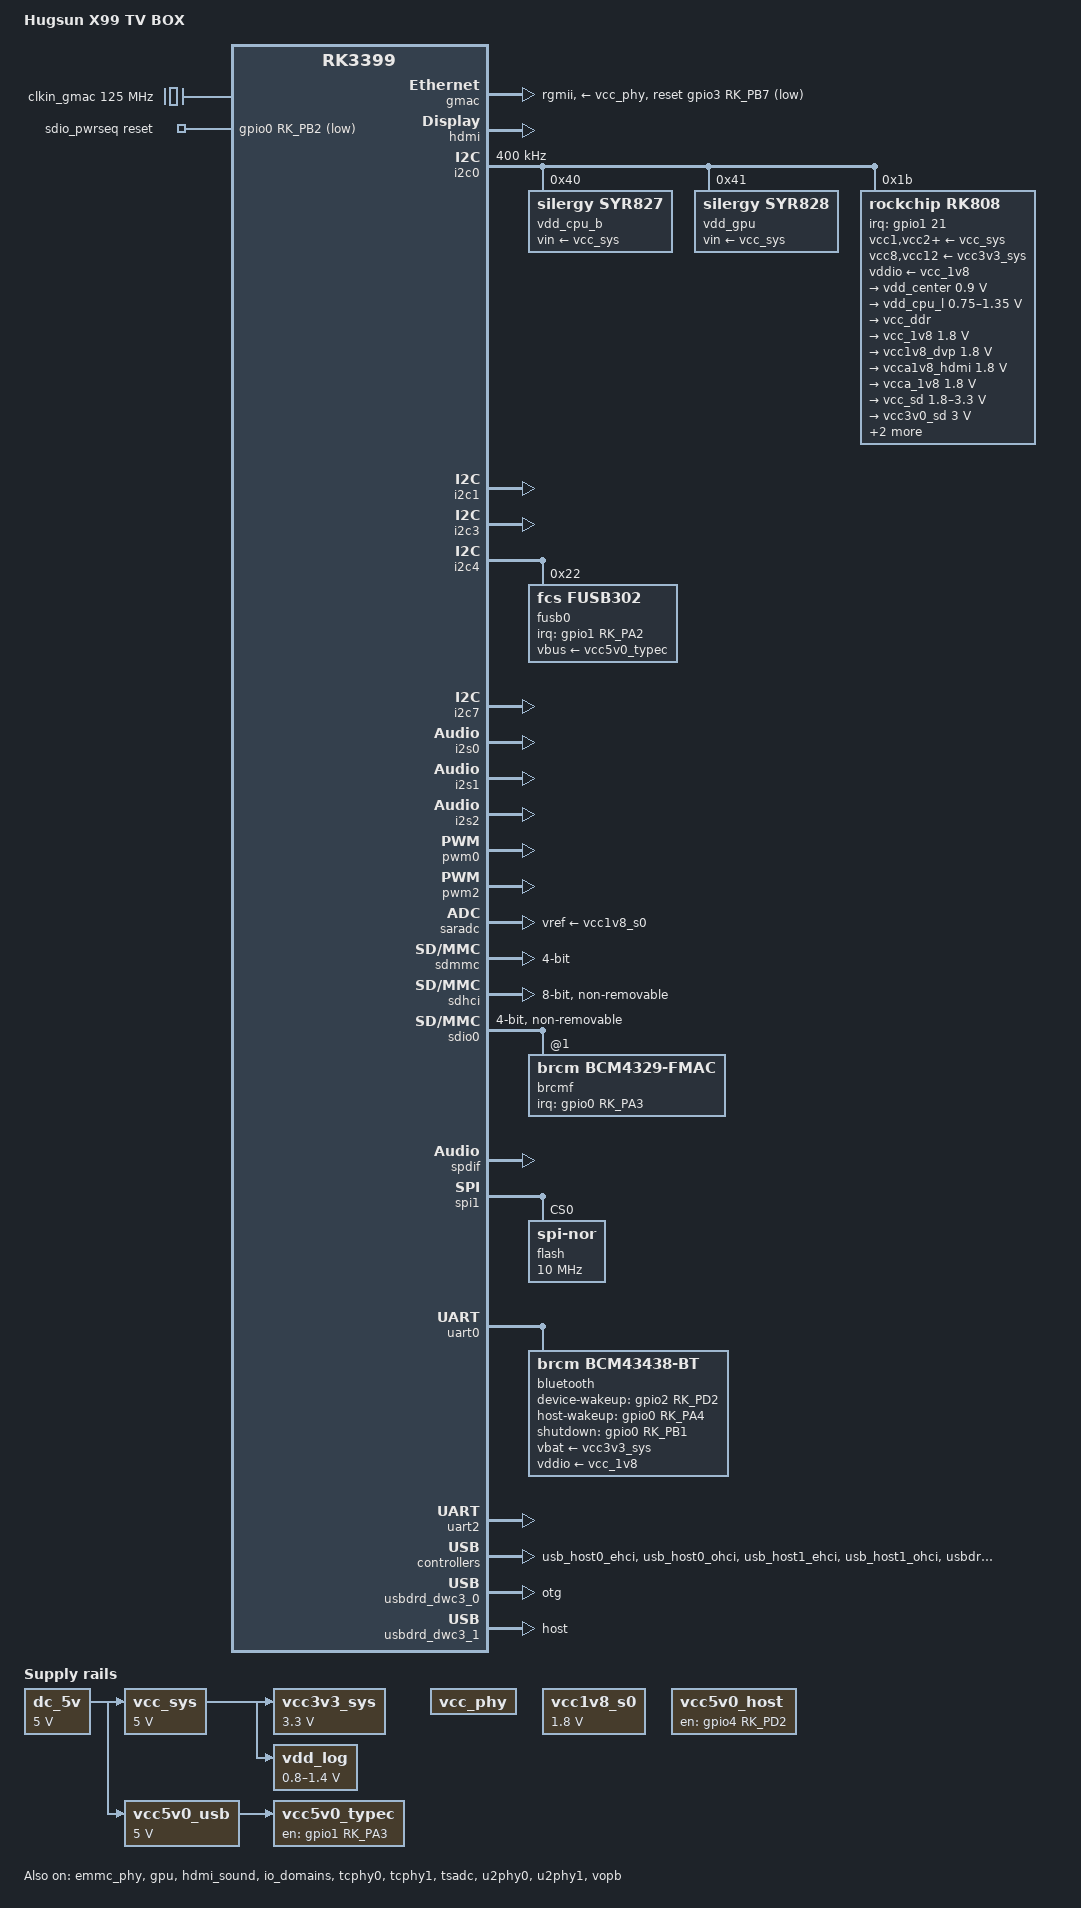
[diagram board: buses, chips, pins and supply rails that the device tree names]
// SPDX-License-Identifier: (GPL-2.0+ OR MIT)
/dts-v1/;
#include <dt-bindings/pwm/pwm.h>
#include <dt-bindings/input/input.h>
#include "rk3399.dtsi"
#include "rk3399-opp.dtsi"

/ {
	model = "Hugsun X99 TV BOX";
	compatible = "hugsun,x99", "rockchip,rk3399";

	chosen {
		stdout-path = "serial2:1500000n8";
	};

	clkin_gmac: external-gmac-clock {
		compatible = "fixed-clock";
		clock-frequency = <125000000>;
		clock-output-names = "clkin_gmac";
		#clock-cells = <0>;
	};

	dc_5v: dc-5v {
		compatible = "regulator-fixed";
		regulator-name = "dc_5v";
		regulator-always-on;
		regulator-boot-on;
		regulator-min-microvolt = <5000000>;
		regulator-max-microvolt = <5000000>;
	};

	vcc_sys: vcc-sys {
		compatible = "regulator-fixed";
		regulator-name = "vcc_sys";
		regulator-min-microvolt = <5000000>;
		regulator-max-microvolt = <5000000>;
		regulator-always-on;
		vin-supply = <&dc_5v>;
	};

	vcc_phy: vcc-phy-regulator {
		compatible = "regulator-fixed";
		regulator-name = "vcc_phy";
		regulator-always-on;
		regulator-boot-on;
	};

	vcc1v8_s0: vcc1v8-s0 {
		compatible = "regulator-fixed";
		regulator-name = "vcc1v8_s0";
		regulator-min-microvolt = <1800000>;
		regulator-max-microvolt = <1800000>;
		regulator-always-on;
	};

	vcc3v3_sys: vcc3v3-sys {
		compatible = "regulator-fixed";
		regulator-name = "vcc3v3_sys";
		regulator-min-microvolt = <3300000>;
		regulator-max-microvolt = <3300000>;
		regulator-always-on;
		vin-supply = <&vcc_sys>;
	};

	vcc5v0_host: vcc5v0-host-regulator {
		compatible = "regulator-fixed";
		enable-active-high;
		gpio = <&gpio4 RK_PD2 GPIO_ACTIVE_HIGH>;
		pinctrl-names = "default";
		pinctrl-0 = <&host_vbus_drv>;
		regulator-name = "vcc5v0_host";
		regulator-always-on;
	};

	vcc5v0_typec: vcc5v0-typec-regulator {
		compatible = "regulator-fixed";
		enable-active-high;
		gpio = <&gpio1 RK_PA3 GPIO_ACTIVE_HIGH>;
		pinctrl-names = "default";
		pinctrl-0 = <&vcc5v0_typec_en>;
		regulator-name = "vcc5v0_typec";
		regulator-always-on;
		vin-supply = <&vcc5v0_usb>;
	};

	vcc5v0_usb: vcc5v0-usb {
		compatible = "regulator-fixed";
		regulator-name = "vcc5v0_usb";
		regulator-always-on;
		regulator-boot-on;
		regulator-min-microvolt = <5000000>;
		regulator-max-microvolt = <5000000>;
		vin-supply = <&dc_5v>;
	};

	vdd_log: vdd-log {
		compatible = "pwm-regulator";
		pwms = <&pwm2 0 25000 1>;
		pwm-supply = <&vcc_sys>;
		regulator-name = "vdd_log";
		regulator-min-microvolt = <800000>;
		regulator-max-microvolt = <1400000>;
		regulator-always-on;
		regulator-boot-on;
	};

	sdio_pwrseq: sdio-pwrseq {
		compatible = "mmc-pwrseq-simple";
		clocks = <&rk808 1>;
		clock-names = "ext_clock";
		pinctrl-names = "default";
		pinctrl-0 = <&wifi_reg_on_h>;
		reset-gpios = <&gpio0 RK_PB2 GPIO_ACTIVE_LOW>;
	};

};

&cpu_l0 {
	cpu-supply = <&vdd_cpu_l>;
};

&cpu_l1 {
	cpu-supply = <&vdd_cpu_l>;
};

&cpu_l2 {
	cpu-supply = <&vdd_cpu_l>;
};

&cpu_l3 {
	cpu-supply = <&vdd_cpu_l>;
};

&cpu_b0 {
	cpu-supply = <&vdd_cpu_b>;
};

&cpu_b1 {
	cpu-supply = <&vdd_cpu_b>;
};

&emmc_phy {
	status = "okay";
};

&gmac {
	assigned-clocks = <&cru SCLK_RMII_SRC>;
	assigned-clock-parents = <&clkin_gmac>;
	clock_in_out = "input";
	phy-supply = <&vcc_phy>;
	phy-mode = "rgmii";
	pinctrl-names = "default";
	pinctrl-0 = <&rgmii_pins>;
	snps,reset-gpio = <&gpio3 RK_PB7 GPIO_ACTIVE_LOW>;
	snps,reset-active-low;
	snps,reset-delays-us = <0 10000 50000>;
	tx_delay = <0x28>;
	rx_delay = <0x11>;
	status = "okay";
};

&gpu {
	status = "okay";
	mali-supply = <&vdd_gpu>;
};

&hdmi {
	ddc-i2c-bus = <&i2c3>;
	pinctrl-names = "default";
	pinctrl-0 = <&hdmi_cec>;
	status = "okay";
};

&hdmi_sound {
	status = "okay";
};

&i2c0 {
	status = "okay";
	i2c-scl-rising-time-ns = <180>;
	i2c-scl-falling-time-ns = <30>;
	clock-frequency = <400000>;

	vdd_cpu_b: syr827@40 {
		compatible = "silergy,syr827";
		reg = <0x40>;
		regulator-compatible = "fan53555-reg";
		pinctrl-0 = <&vsel1_gpio>;
		regulator-name = "vdd_cpu_b";
		regulator-min-microvolt = <712500>;
		regulator-max-microvolt = <1500000>;
		regulator-ramp-delay = <1000>;
		fcs,suspend-voltage-selector = <1>;
		regulator-always-on;
		regulator-boot-on;
		vin-supply = <&vcc_sys>;
		regulator-state-mem {
			regulator-off-in-suspend;
		};
	};

	vdd_gpu: syr828@41 {
		compatible = "silergy,syr828";
		reg = <0x41>;
		regulator-compatible = "fan53555-reg";
		pinctrl-0 = <&vsel2_gpio>;
		regulator-name = "vdd_gpu";
		regulator-min-microvolt = <712500>;
		regulator-max-microvolt = <1500000>;
		regulator-ramp-delay = <1000>;
		fcs,suspend-voltage-selector = <1>;
		regulator-always-on;
		regulator-boot-on;
		vin-supply = <&vcc_sys>;
		regulator-initial-mode = <1>;
		regulator-state-mem {
			regulator-off-in-suspend;
		};
	};

	rk808: pmic@1b {
		compatible = "rockchip,rk808";
		reg = <0x1b>;
		interrupt-parent = <&gpio1>;
		interrupts = <21 IRQ_TYPE_LEVEL_LOW>;
		pinctrl-names = "default";
		pinctrl-0 = <&pmic_int_l>;
		rockchip,system-power-controller;
		wakeup-source;
		#clock-cells = <1>;
		clock-output-names = "xin32k", "rtc_clko_wifi";

		vcc1-supply = <&vcc_sys>;
		vcc2-supply = <&vcc_sys>;
		vcc3-supply = <&vcc_sys>;
		vcc4-supply = <&vcc_sys>;
		vcc6-supply = <&vcc_sys>;
		vcc7-supply = <&vcc_sys>;
		vcc8-supply = <&vcc3v3_sys>;
		vcc9-supply = <&vcc_sys>;
		vcc10-supply = <&vcc_sys>;
		vcc11-supply = <&vcc_sys>;
		vcc12-supply = <&vcc3v3_sys>;
		vddio-supply = <&vcc_1v8>;

		regulators {
			vdd_center: DCDC_REG1 {
				regulator-name = "vdd_center";
				regulator-min-microvolt = <900000>;
				regulator-max-microvolt = <900000>;
				regulator-ramp-delay = <6001>;
				regulator-always-on;
				regulator-boot-on;
				regulator-state-mem {
					regulator-off-in-suspend;
				};
			};

			vdd_cpu_l: DCDC_REG2 {
				regulator-name = "vdd_cpu_l";
				regulator-min-microvolt = <750000>;
				regulator-max-microvolt = <1350000>;
				regulator-ramp-delay = <6001>;
				regulator-always-on;
				regulator-boot-on;
				regulator-state-mem {
					regulator-off-in-suspend;
				};
			};

			vcc_ddr: DCDC_REG3 {
				regulator-name = "vcc_ddr";
				regulator-always-on;
				regulator-boot-on;
				regulator-state-mem {
					regulator-on-in-suspend;
				};
			};

			vcc_1v8: DCDC_REG4 {
				regulator-name = "vcc_1v8";
				regulator-min-microvolt = <1800000>;
				regulator-max-microvolt = <1800000>;
				regulator-always-on;
				regulator-boot-on;
				regulator-state-mem {
					regulator-on-in-suspend;
					regulator-suspend-microvolt = <1800000>;
				};
			};

			vcc1v8_dvp: LDO_REG1 {
				regulator-name = "vcc1v8_dvp";
				regulator-min-microvolt = <1800000>;
				regulator-max-microvolt = <1800000>;
				regulator-always-on;
				regulator-boot-on;
				regulator-state-mem {
					regulator-on-in-suspend;
					regulator-suspend-microvolt = <1800000>;
				};
			};

			vcca1v8_hdmi: LDO_REG2 {
				regulator-name = "vcca1v8_hdmi";
				regulator-min-microvolt = <1800000>;
				regulator-max-microvolt = <1800000>;
				regulator-always-on;
				regulator-boot-on;
				regulator-state-mem {
					regulator-on-in-suspend;
					regulator-suspend-microvolt = <1800000>;
				};
			};

			vcca_1v8: LDO_REG3 {
				regulator-name = "vcca_1v8";
				regulator-min-microvolt = <1800000>;
				regulator-max-microvolt = <1800000>;
				regulator-always-on;
				regulator-boot-on;
				regulator-state-mem {
					regulator-on-in-suspend;
					regulator-suspend-microvolt = <1800000>;
				};
			};

			vcc_sd: LDO_REG4 {
				regulator-name = "vcc_sd";
				regulator-min-microvolt = <1800000>;
				regulator-max-microvolt = <3300000>;
				regulator-always-on;
				regulator-boot-on;
				regulator-state-mem {
					regulator-on-in-suspend;
					regulator-suspend-microvolt = <3300000>;
				};
			};

			vcc3v0_sd: LDO_REG5 {
				regulator-name = "vcc3v0_sd";
				regulator-min-microvolt = <3000000>;
				regulator-max-microvolt = <3000000>;
				regulator-always-on;
				regulator-boot-on;
				regulator-state-mem {
					regulator-on-in-suspend;
					regulator-suspend-microvolt = <3000000>;
				};
			};

			vcc_1v5: LDO_REG6 {
				regulator-name = "vcc_1v5";
				regulator-min-microvolt = <1500000>;
				regulator-max-microvolt = <1500000>;
				regulator-always-on;
				regulator-boot-on;
				regulator-state-mem {
					regulator-on-in-suspend;
					regulator-suspend-microvolt = <1500000>;
				};
			};

			vcca0v9_hdmi: LDO_REG7 {
				regulator-name = "vcca0v9_hdmi";
				regulator-min-microvolt = <900000>;
				regulator-max-microvolt = <900000>;
				regulator-always-on;
				regulator-boot-on;
				regulator-state-mem {
					regulator-on-in-suspend;
					regulator-suspend-microvolt = <900000>;
				};
			};

			vcc_3v0: LDO_REG8 {
				regulator-name = "vcc_3v0";
				regulator-min-microvolt = <3000000>;
				regulator-max-microvolt = <3000000>;
				regulator-always-on;
				regulator-boot-on;
				regulator-state-mem {
					regulator-on-in-suspend;
					regulator-suspend-microvolt = <3000000>;
				};
			};

			vcc3v3_s3: SWITCH_REG1 {
				regulator-name = "vcc3v3_s3";
				regulator-always-on;
				regulator-boot-on;
				regulator-state-mem {
					regulator-on-in-suspend;
				};
			};

			vcc3v3_s0: SWITCH_REG2 {
				regulator-name = "vcc3v3_s0";
				regulator-always-on;
				regulator-boot-on;
				regulator-state-mem {
					regulator-on-in-suspend;
				};
			};
		};
	};
};

&i2c1 {
	i2c-scl-rising-time-ns = <300>;
	i2c-scl-falling-time-ns = <15>;
	status = "okay";
};

&i2c3 {
	i2c-scl-rising-time-ns = <450>;
	i2c-scl-falling-time-ns = <15>;
	status = "okay";
};

&i2c4 {
	i2c-scl-rising-time-ns = <600>;
	i2c-scl-falling-time-ns = <40>;
	status = "okay";

	fusb0: typec-portc@22 {
		compatible = "fcs,fusb302";
		reg = <0x22>;
		interrupt-parent = <&gpio1>;
		interrupts = <RK_PA2 IRQ_TYPE_LEVEL_LOW>;
		pinctrl-names = "default";
		pinctrl-0 = <&fusb0_int>;
		vbus-supply = <&vcc5v0_typec>;
		status = "okay";
	};
};

&i2c7 {
	status = "okay";
};

&i2s0 {
	rockchip,playback-channels = <8>;
	rockchip,capture-channels = <8>;
	status = "okay";
};

&i2s1 {
	rockchip,playback-channels = <2>;
	rockchip,capture-channels = <2>;
	status = "okay";
};

&i2s2 {
	status = "okay";
};

&io_domains {
	status = "okay";
	audio-supply = <&vcc1v8_s0>;
	bt656-supply = <&vcc1v8_s0>;
	gpio1830-supply = <&vcc_3v0>;
	sdmmc-supply = <&vcc_sd>;
};

&pmu_io_domains {
	status = "okay";
	pmu1830-supply = <&vcc_1v8>;
};

&pinctrl {
	fusb30x {
		fusb0_int: fusb0-int {
			rockchip,pins =
				<1 RK_PA2 RK_FUNC_GPIO &pcfg_pull_up>;
		};
	};

	gmac {
		rgmii_sleep_pins: rgmii-sleep-pins {
			rockchip,pins =
				<3 RK_PB7 RK_FUNC_GPIO &pcfg_output_low>;
		};
	};

	pmic {
		pmic_int_l: pmic-int-l {
			rockchip,pins =
				<1 RK_PC5 RK_FUNC_GPIO &pcfg_pull_up>;
		};

		vsel1_gpio: vsel1-gpio {
			rockchip,pins =
				<1 RK_PC1 RK_FUNC_GPIO &pcfg_pull_down>;
		};

		vsel2_gpio: vsel2-gpio {
			rockchip,pins =
				<1 RK_PB6 RK_FUNC_GPIO &pcfg_pull_down>;
		};
	};

	sdio {
		bt_host_wake_l: bt-host-wake-l {
			rockchip,pins = <0 RK_PA4 RK_FUNC_GPIO &pcfg_pull_none>;
		};

		bt_reg_on_h: bt-reg-on-h {
			/* external pullup to VCC1V8_PMUPLL */
			rockchip,pins = <0 RK_PB1 RK_FUNC_GPIO &pcfg_pull_none>;
		};

		bt_wake_l: bt-wake-l {
			rockchip,pins = <2 RK_PD2 RK_FUNC_GPIO &pcfg_pull_none>;
		};

		wifi_reg_on_h: wifi-reg_on-h {
			rockchip,pins = <0 RK_PB2 RK_FUNC_GPIO &pcfg_pull_none>;
		};
	};

	wifi {
		wifi_host_wake_l: wifi-host-wake-l {
			rockchip,pins = <0 RK_PA3 RK_FUNC_GPIO &pcfg_pull_none>;
		};
	};

	usb-typec {
		vcc5v0_typec_en: vcc5v0_typec_en {
			rockchip,pins = <1 RK_PA3 RK_FUNC_GPIO &pcfg_pull_up>;
		};
	};

	usb2 {
		host_vbus_drv: host-vbus-drv {
			rockchip,pins =
				<4 RK_PD2 RK_FUNC_GPIO &pcfg_pull_none>;
		};
	};
};

&pwm0 {
	status = "okay";
};

&pwm2 {
	status = "okay";
	pinctrl-0 = <&pwm2_pin_pull_down>;
};

&saradc {
	vref-supply = <&vcc1v8_s0>;
	status = "okay";
};

&sdmmc {
	clock-frequency = <150000000>;
	clock-freq-min-max = <200000 150000000>;
	supports-sd;
	bus-width = <4>;
	cap-mmc-highspeed;
	cap-sd-highspeed;
	disable-wp;
	vqmmc-supply = <&vcc_sd>;
	pinctrl-names = "default";
	pinctrl-0 = <&sdmmc_clk &sdmmc_cmd &sdmmc_cd &sdmmc_bus4>;
	card-detect-delay = <800>;
	status = "okay";
};

&sdhci {
	bus-width = <8>;
	mmc-hs400-1_8v;
	mmc-hs400-enhanced-strobe;
	supports-emmc;
	non-removable;
	keep-power-in-suspend;
	status = "okay";
};

&sdio0 {
	bus-width = <4>;
	clock-frequency = <50000000>;
	cap-sdio-irq;
	cap-sd-highspeed;
	keep-power-in-suspend;
	mmc-pwrseq = <&sdio_pwrseq>;
	non-removable;
	pinctrl-names = "default";
	pinctrl-0 = <&sdio0_bus4 &sdio0_cmd &sdio0_clk>;
	sd-uhs-sdr104;
	#address-cells = <1>;
	#size-cells = <0>;
	status = "okay";

	brcmf: wifi@1 {
		compatible = "brcm,bcm4329-fmac";
		reg = <1>;
		interrupt-parent = <&gpio0>;
		interrupts = <RK_PA3 GPIO_ACTIVE_HIGH>;
		interrupt-names = "host-wake";
		pinctrl-names = "default";
		pinctrl-0 = <&wifi_host_wake_l>;
	};
};

&spdif {
	status = "okay";
	pinctrl-0 = <&spdif_bus_1>;
	#sound-dai-cells = <0>;
};

&spi1 {
	status = "okay";
	max-freq = <10000000>;

	flash@0 {
		compatible = "jedec,spi-nor";
		#address-cells = <1>;
		#size-cells = <1>;
		reg = <0>;
		spi-max-frequency = <10000000>;
	};
};

&tcphy0 {
	status = "okay";
};

&tcphy1 {
	status = "okay";
};

&tsadc {
	/* tshut mode 0:CRU 1:GPIO */
	rockchip,hw-tshut-mode = <1>;
	/* tshut polarity 0:LOW 1:HIGH */
	rockchip,hw-tshut-polarity = <1>;
	rockchip,hw-tshut-temp = <110000>;
	status = "okay";
};

&u2phy0 {
	status = "okay";

	u2phy0_host: host-port {
		phy-supply = <&vcc5v0_host>;
		status = "okay";
	};

	u2phy0_otg: otg-port {
		status = "okay";
	};
};

&u2phy1 {
	status = "okay";

	u2phy1_host: host-port {
		phy-supply = <&vcc5v0_host>;
		status = "okay";
	};

	u2phy1_otg: otg-port {
		status = "okay";
	};
};

&uart0 {
	pinctrl-names = "default";
	pinctrl-0 = <&uart0_xfer &uart0_rts &uart0_cts>;
	status = "okay";

	bluetooth {
		compatible = "brcm,bcm43438-bt";
		clocks = <&rk808 1>;
		clock-names = "ext_clock";
		device-wakeup-gpios = <&gpio2 RK_PD2 GPIO_ACTIVE_HIGH>;
		host-wakeup-gpios = <&gpio0 RK_PA4 GPIO_ACTIVE_HIGH>;
		shutdown-gpios = <&gpio0 RK_PB1 GPIO_ACTIVE_HIGH>;
		max-speed = <4000000>;
		pinctrl-names = "default";
		pinctrl-0 = <&bt_reg_on_h &bt_host_wake_l &bt_wake_l>;
		vbat-supply = <&vcc3v3_sys>;
		vddio-supply = <&vcc_1v8>;
	};
};

&uart2 {
	status = "okay";
};

&usb_host0_ehci {
	status = "okay";
};

&usb_host0_ohci {
	status = "okay";
};

&usb_host1_ehci {
	status = "okay";
};

&usb_host1_ohci {
	status = "okay";
};

&usbdrd3_0 {
	status = "okay";
};

&usbdrd_dwc3_0 {
	status = "okay";
	dr_mode = "otg";
};

&usbdrd3_1 {
	status = "okay";
};

&usbdrd_dwc3_1 {
	status = "okay";
	dr_mode = "host";
};

&vopb {
	status = "okay";
};

&vopb_mmu {
	status = "okay";
};
